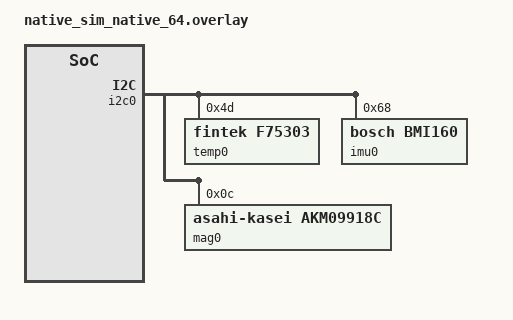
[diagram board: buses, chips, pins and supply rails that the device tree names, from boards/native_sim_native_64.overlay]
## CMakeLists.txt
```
cmake_minimum_required(VERSION 3.20.0)
find_package(Zephyr REQUIRED HINTS $ENV{ZEPHYR_BASE})
project(sensor_node)

target_sources(app PRIVATE
  src/main.c
  src/sensors.c
  src/frame.c
  src/alarm.c
  src/sim_stimulus.c
  src/cmd_shell.c)
target_include_directories(app PRIVATE src)
```

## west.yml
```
# Makes this repository a west "application repo" pinned to a specific Zephyr release.
manifest:
  remotes:
    - name: zephyrproject-rtos
      url-base: https://github.com/zephyrproject-rtos
  projects:
    - name: zephyr
      remote: zephyrproject-rtos
      revision: v4.2.0
      import:
        name-allowlist: []   # native_sim needs no HAL modules; add e.g. hal_nordic for real boards
  self:
    path: sensor-node
```

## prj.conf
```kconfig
# Core
CONFIG_MAIN_STACK_SIZE=2048
CONFIG_LOG=n
CONFIG_PRINTK=y

# Sensors on emulated I2C bus
CONFIG_I2C=y
CONFIG_SENSOR=y
CONFIG_EMUL=y
CONFIG_I2C_EMUL=y
CONFIG_F75303=y
CONFIG_BMI160=y
CONFIG_AKM09918C=y

# UART shell (command interface) + CRC helpers
CONFIG_SHELL=y
CONFIG_SHELL_BACKEND_SERIAL=y
CONFIG_SHELL_PROMPT_UART="node:~$ "
CONFIG_CRC=y

# Watchdog-style health supervision uses a k_work_delayable
CONFIG_SYSTEM_WORKQUEUE_STACK_SIZE=2048
```

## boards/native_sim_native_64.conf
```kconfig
# Shell + console on the host terminal (stdin/stdout) so scripts and humans can drive it
CONFIG_UART_NATIVE_PTY_0_ON_STDINOUT=y
```

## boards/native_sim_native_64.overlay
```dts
/*
 * Virtual sensor node: three real Zephyr sensor drivers talk over the emulated
 * I2C controller (i2c0) to emulated chips. Same driver code would run on hardware.
 */
&i2c0 {
	status = "okay";

	temp0: f75303@4d {
		compatible = "fintek,f75303";
		reg = <0x4d>;
	};

	imu0: bmi160@68 {
		compatible = "bosch,bmi160";
		reg = <0x68>;
	};

	mag0: akm09918c@c {
		compatible = "asahi-kasei,akm09918c";
		reg = <0x0c>;
	};
};
```

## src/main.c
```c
/*
 * Multi-sensor node: periodically reads a temperature sensor, an IMU and a
 * magnetometer over I2C, evaluates alarms, and streams CRC-protected frames on
 * the UART. A UART shell allows runtime control. Runs on native_sim today;
 * the same sources build for real boards by adding a board overlay.
 */
#include <zephyr/kernel.h>
#include <zephyr/sys/printk.h>

#include "alarm.h"
#include "frame.h"
#include "node.h"
#include "sensors.h"
#include "sim_stimulus.h"

struct node_state node;

int main(void)
{
	k_mutex_init(&node.lock);
	node.period_ms = 500;
	alarm_default_cfg(&node.cfg);

	if (sensors_init() != 0 || sim_init() != 0) {
		printk("# FATAL: sensor bring-up failed\n");
		return -1;
	}
	printk("# sensor-node up, period=%u ms\n", node.period_ms);

	uint32_t seq = 0;
	int64_t next = k_uptime_get();

	for (;;) {
		struct sample s = {0};
		char line[FRAME_MAX_LEN];

		s.seq = seq++;
		s.uptime_ms = (uint32_t)k_uptime_get();
		sim_step(s.uptime_ms);

		int rc = sensors_read(&s);

		k_mutex_lock(&node.lock, K_FOREVER);
		s.alarms = alarm_update(&node.alarm, &node.cfg, &s, rc != 0);
		node.last = s;
		node.frames++;
		if (rc != 0) {
			node.read_errors++;
		}
		uint32_t period = node.period_ms;

		k_mutex_unlock(&node.lock);

		if (frame_encode(&s, line, sizeof(line)) > 0) {
			printk("%s", line);
		}

		next += period;
		int64_t wait = next - k_uptime_get();

		if (wait < 0) { /* overrun: resync instead of bursting */
			next = k_uptime_get();
			wait = 0;
		}
		k_sleep(K_MSEC(wait));
	}
	return 0;
}
```

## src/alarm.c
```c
#include "alarm.h"

#include <stdlib.h>
#include <zephyr/sys/util.h>

void alarm_default_cfg(struct alarm_cfg *c)
{
	c->temp_hi_mc = 45000;
	c->temp_clear_mc = 42000;
	c->shock_mg = 1500;
	c->spin_mdps = 200000;
	c->debounce = 3;
}

static int32_t isqrt64(uint64_t v)
{
	uint64_t r = 0, bit = 1ULL << 62;

	while (bit > v) {
		bit >>= 2;
	}
	while (bit) {
		if (v >= r + bit) {
			v -= r + bit;
			r = (r >> 1) + bit;
		} else {
			r >>= 1;
		}
		bit >>= 2;
	}
	return (int32_t)r;
}

static int32_t mag3(const int32_t v[3])
{
	return isqrt64((uint64_t)((int64_t)v[0] * v[0] + (int64_t)v[1] * v[1] + (int64_t)v[2] * v[2]));
}

uint8_t alarm_update(struct alarm_state *st, const struct alarm_cfg *cfg,
		     const struct sample *s, int fault)
{
	/* over-temperature: hysteresis + debounce */
	if (st->active & ALARM_OVERTEMP) {
		if (s->temp_mc < cfg->temp_clear_mc) {
			st->active &= ~ALARM_OVERTEMP;
			st->cnt_temp = 0;
		}
	} else if (s->temp_mc > cfg->temp_hi_mc) {
		if (++st->cnt_temp >= cfg->debounce) {
			st->active |= ALARM_OVERTEMP;
		}
	} else {
		st->cnt_temp = 0;
	}

	/* shock: acceleration magnitude deviates from 1 g (1000 mg) */
	int32_t dev = abs(mag3(s->accel_mg) - 1000);

	if (dev > cfg->shock_mg) {
		if (++st->cnt_shock >= cfg->debounce) {
			st->active |= ALARM_SHOCK;
		}
	} else {
		st->cnt_shock = 0;
		st->active &= ~ALARM_SHOCK;
	}

	/* spin */
	if (mag3(s->gyro_mdps) > cfg->spin_mdps) {
		if (++st->cnt_spin >= cfg->debounce) {
			st->active |= ALARM_SPIN;
		}
	} else {
		st->cnt_spin = 0;
		st->active &= ~ALARM_SPIN;
	}

	if (fault) {
		st->active |= ALARM_SENSOR_FAULT;
	} else {
		st->active &= ~ALARM_SENSOR_FAULT;
	}
	return st->active;
}
```

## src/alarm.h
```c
/* Alarm evaluation with hysteresis and debounce. Pure logic: unit-testable off-target. */
#ifndef ALARM_H_
#define ALARM_H_

#include <stdint.h>
#include "frame.h"

#define ALARM_OVERTEMP  BIT(0)
#define ALARM_SHOCK     BIT(1)
#define ALARM_SPIN      BIT(2)
#define ALARM_SENSOR_FAULT BIT(7)

struct alarm_cfg {
	int32_t temp_hi_mc;     /* trip above */
	int32_t temp_clear_mc;  /* clear below (hysteresis) */
	int32_t shock_mg;       /* |a| deviation from 1 g that trips shock */
	int32_t spin_mdps;      /* |w| that trips spin */
	uint8_t debounce;       /* consecutive samples required to trip */
};

struct alarm_state {
	uint8_t active;
	uint8_t cnt_temp, cnt_shock, cnt_spin;
};

void alarm_default_cfg(struct alarm_cfg *c);
/* Updates state from a sample; returns active mask. `fault` forces SENSOR_FAULT. */
uint8_t alarm_update(struct alarm_state *st, const struct alarm_cfg *cfg,
		     const struct sample *s, int fault);

#endif
```

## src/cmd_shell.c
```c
#include <stdlib.h>
#include <zephyr/shell/shell.h>
#include "node.h"
#include "sim_stimulus.h"

static int cmd_status(const struct shell *sh, size_t argc, char **argv)
{
	k_mutex_lock(&node.lock, K_FOREVER);
	struct sample s = node.last;
	uint32_t p = node.period_ms, f = node.frames, e = node.read_errors;
	uint8_t a = node.alarm.active;

	k_mutex_unlock(&node.lock);
	shell_print(sh, "period=%ums frames=%u i2c_errors=%u alarms=0x%02x", p, f, e, a);
	shell_print(sh, "temp=%d.%03dC accel_mg=(%d,%d,%d) gyro_mdps=(%d,%d,%d)",
		    s.temp_mc / 1000, abs(s.temp_mc % 1000), s.accel_mg[0], s.accel_mg[1],
		    s.accel_mg[2], s.gyro_mdps[0], s.gyro_mdps[1], s.gyro_mdps[2]);
	return 0;
}

static int cmd_period(const struct shell *sh, size_t argc, char **argv)
{
	long ms = strtol(argv[1], NULL, 10);

	if (ms < 20 || ms > 10000) {
		shell_error(sh, "period must be 20..10000 ms");
		return -EINVAL;
	}
	k_mutex_lock(&node.lock, K_FOREVER);
	node.period_ms = (uint32_t)ms;
	k_mutex_unlock(&node.lock);
	shell_print(sh, "period=%ld ms", ms);
	return 0;
}

static int cmd_thresh_temp(const struct shell *sh, size_t argc, char **argv)
{
	long c = strtol(argv[1], NULL, 10);

	if (c < -40 || c > 125) {
		shell_error(sh, "threshold must be -40..125 C");
		return -EINVAL;
	}
	k_mutex_lock(&node.lock, K_FOREVER);
	node.cfg.temp_hi_mc = c * 1000;
	node.cfg.temp_clear_mc = (c - 3) * 1000;
	k_mutex_unlock(&node.lock);
	shell_print(sh, "over-temp trips above %ld C, clears below %ld C", c, c - 3);
	return 0;
}

static int cmd_heat(const struct shell *sh, size_t argc, char **argv)
{
	sim_set_heat_mc((int32_t)(strtol(argv[1], NULL, 10) * 1000));
	return 0;
}

static int cmd_shock(const struct shell *sh, size_t argc, char **argv)
{
	sim_trigger_shock(argc > 1 ? (uint32_t)strtoul(argv[1], NULL, 10) : 500);
	return 0;
}

static int cmd_spin(const struct shell *sh, size_t argc, char **argv)
{
	sim_trigger_spin(argc > 1 ? (uint32_t)strtoul(argv[1], NULL, 10) : 1000);
	return 0;
}

static int cmd_reset(const struct shell *sh, size_t argc, char **argv)
{
	sim_reset();
	return 0;
}

SHELL_STATIC_SUBCMD_SET_CREATE(node_cmds,
	SHELL_CMD_ARG(status, NULL, "Show last sample and counters", cmd_status, 1, 0),
	SHELL_CMD_ARG(period, NULL, "period <ms>  sampling period (20..10000)", cmd_period, 2, 0),
	SHELL_CMD_ARG(thresh_temp, NULL, "thresh_temp <C>  over-temp alarm threshold", cmd_thresh_temp, 2, 0),
	SHELL_SUBCMD_SET_END);
SHELL_CMD_REGISTER(node, &node_cmds, "Sensor node control", NULL);

SHELL_STATIC_SUBCMD_SET_CREATE(sim_cmds,
	SHELL_CMD_ARG(heat, NULL, "heat <dC>  add dC degrees to ambient", cmd_heat, 2, 0),
	SHELL_CMD_ARG(shock, NULL, "shock [ms]  inject an impact", cmd_shock, 1, 1),
	SHELL_CMD_ARG(spin, NULL, "spin [ms]  inject rotation", cmd_spin, 1, 1),
	SHELL_CMD_ARG(reset, NULL, "clear injected faults", cmd_reset, 1, 0),
	SHELL_SUBCMD_SET_END);
SHELL_CMD_REGISTER(sim, &sim_cmds, "Virtual-world fault injection", NULL);
```

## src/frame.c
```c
#include "frame.h"

#include <errno.h>
#include <stdio.h>
#include <stdlib.h>
#include <string.h>
#include <zephyr/sys/crc.h>

int frame_encode(const struct sample *s, char *buf, size_t len)
{
	char body[FRAME_MAX_LEN];
	int n = snprintf(body, sizeof(body),
			 "SN,%u,%u,%d,%d,%d,%d,%d,%d,%d,%d,%d,%d,%u",
			 (unsigned)s->seq, (unsigned)s->uptime_ms, (int)s->temp_mc,
			 (int)s->accel_mg[0], (int)s->accel_mg[1], (int)s->accel_mg[2],
			 (int)s->gyro_mdps[0], (int)s->gyro_mdps[1], (int)s->gyro_mdps[2],
			 (int)s->mag_nt[0], (int)s->mag_nt[1], (int)s->mag_nt[2],
			 (unsigned)s->alarms);

	if (n < 0 || (size_t)n >= sizeof(body)) {
		return -ENOMEM;
	}
	uint16_t crc = crc16_itu_t(0, (const uint8_t *)body, (size_t)n);
	int m = snprintf(buf, len, "$%s*%04X\n", body, crc);

	return (m < 0 || (size_t)m >= len) ? -ENOMEM : m;
}

int frame_decode(const char *line, struct sample *out)
{
	const char *star = strrchr(line, '*');

	if (line[0] != '$' || star == NULL) {
		return -EBADMSG;
	}
	size_t body_len = (size_t)(star - (line + 1));
	uint16_t want = (uint16_t)strtoul(star + 1, NULL, 16);

	if (crc16_itu_t(0, (const uint8_t *)(line + 1), body_len) != want) {
		return -EBADMSG;
	}
	unsigned seq, ms, al;
	int t, ax, ay, az, gx, gy, gz, mx, my, mz;

	if (sscanf(line + 1, "SN,%u,%u,%d,%d,%d,%d,%d,%d,%d,%d,%d,%d,%u",
		   &seq, &ms, &t, &ax, &ay, &az, &gx, &gy, &gz, &mx, &my, &mz, &al) != 13) {
		return -EBADMSG;
	}
	out->seq = seq;
	out->uptime_ms = ms;
	out->temp_mc = t;
	out->accel_mg[0] = ax; out->accel_mg[1] = ay; out->accel_mg[2] = az;
	out->gyro_mdps[0] = gx; out->gyro_mdps[1] = gy; out->gyro_mdps[2] = gz;
	out->mag_nt[0] = mx; out->mag_nt[1] = my; out->mag_nt[2] = mz;
	out->alarms = (uint8_t)al;
	return 0;
}
```

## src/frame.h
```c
/* Telemetry frame encoder/decoder. Pure C, no Zephyr kernel dependencies except crc16. */
#ifndef FRAME_H_
#define FRAME_H_

#include <stddef.h>
#include <stdint.h>

/* All values are fixed-point integers (no floats on the wire). */
struct sample {
	uint32_t seq;
	uint32_t uptime_ms;
	int32_t temp_mc;      /* milli-degrees C */
	int32_t accel_mg[3];  /* milli-g */
	int32_t gyro_mdps[3]; /* milli-degrees/s */
	int32_t mag_nt[3];    /* nano-tesla */
	uint8_t alarms;       /* bit mask, see alarm.h */
};

/* Frame format:  $SN,<seq>,<ms>,<tmC>,<ax>,<ay>,<az>,<gx>,<gy>,<gz>,<mx>,<my>,<mz>,<alarms>*<CRC16 hex4>\n
 * CRC-16/ITU-T (CCITT, poly 0x1021, init 0) over the bytes between '$' and '*'. */
#define FRAME_MAX_LEN 160

/* Returns length written (excluding NUL) or negative errno. */
int frame_encode(const struct sample *s, char *buf, size_t len);

/* Returns 0 on success, -EBADMSG on CRC/format error. */
int frame_decode(const char *line, struct sample *out);

#endif
```

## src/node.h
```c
#ifndef NODE_H_
#define NODE_H_

#include <zephyr/kernel.h>
#include "alarm.h"
#include "frame.h"

struct node_state {
	struct k_mutex lock;
	uint32_t period_ms;
	struct alarm_cfg cfg;
	struct alarm_state alarm;
	struct sample last;
	uint32_t frames, read_errors;
};

extern struct node_state node;

#endif
```

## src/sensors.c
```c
#include "sensors.h"

#include <errno.h>
#include <zephyr/device.h>
#include <zephyr/devicetree.h>
#include <zephyr/drivers/sensor.h>
#include <zephyr/sys/printk.h>

static const struct device *const temp_dev = DEVICE_DT_GET(DT_NODELABEL(temp0));
static const struct device *const imu_dev = DEVICE_DT_GET(DT_NODELABEL(imu0));
static const struct device *const mag_dev = DEVICE_DT_GET(DT_NODELABEL(mag0));

#define M_S2_PER_G_MILLI 9807 /* 1 g = 9.80665 m/s^2 -> value_in_m_s2 * 1000 / 9.807 = mg */

static int32_t sv_milli(const struct sensor_value *v)
{
	return (int32_t)(v->val1 * 1000 + v->val2 / 1000);
}

int sensors_init(void)
{
	const struct device *devs[] = {temp_dev, imu_dev, mag_dev};
	const char *names[] = {"F75303 temp", "BMI160 imu", "AKM09918C mag"};

	for (int i = 0; i < 3; i++) {
		if (!device_is_ready(devs[i])) {
			printk("# sensor not ready: %s\n", names[i]);
			return -ENODEV;
		}
	}
	/* +-8 g so impacts are not clipped by the power-on default of +-2 g */
	struct sensor_value fs;

	sensor_g_to_ms2(8, &fs);
	int rc = sensor_attr_set(imu_dev, SENSOR_CHAN_ACCEL_XYZ, SENSOR_ATTR_FULL_SCALE, &fs);

	if (rc != 0) {
		printk("# warn: could not set accel range (%d)\n", rc);
	}
	return 0;
}

int sensors_read(struct sample *s)
{
	struct sensor_value v[3];
	int err = 0, rc;

	rc = sensor_sample_fetch(temp_dev);
	if (rc == 0) {
		rc = sensor_channel_get(temp_dev, SENSOR_CHAN_AMBIENT_TEMP, &v[0]);
	}
	if (rc == 0) {
		s->temp_mc = sv_milli(&v[0]);
	} else {
		err = rc;
	}

	rc = sensor_sample_fetch(imu_dev);
	if (rc == 0) {
		rc = sensor_channel_get(imu_dev, SENSOR_CHAN_ACCEL_XYZ, v);
		if (rc == 0) {
			for (int i = 0; i < 3; i++) {
				/* m/s^2 (milli) -> milli-g */
				s->accel_mg[i] = (int32_t)((int64_t)sv_milli(&v[i]) * 1000 / M_S2_PER_G_MILLI);
			}
		}
		if (rc == 0) {
			rc = sensor_channel_get(imu_dev, SENSOR_CHAN_GYRO_XYZ, v);
		}
		if (rc == 0) {
			for (int i = 0; i < 3; i++) {
				/* rad/s (milli) -> milli-deg/s */
				s->gyro_mdps[i] = (int32_t)((int64_t)sv_milli(&v[i]) * 57296 / 1000);
			}
		}
	}
	if (rc != 0) {
		err = rc;
	}

	rc = sensor_sample_fetch(mag_dev);
	if (rc == 0) {
		rc = sensor_channel_get(mag_dev, SENSOR_CHAN_MAGN_XYZ, v);
	}
	if (rc == 0) {
		for (int i = 0; i < 3; i++) {
			/* gauss -> nano-tesla: 1 G = 100000 nT */
			s->mag_nt[i] = (int32_t)((int64_t)sv_milli(&v[i]) * 100);
		}
	} else {
		err = rc;
	}
	return err;
}
```

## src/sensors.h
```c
#ifndef SENSORS_H_
#define SENSORS_H_

#include "frame.h"

int sensors_init(void);
/* Reads all sensors over I2C. Returns 0 if every device answered, else negative errno
 * (sample fields of failed devices are left zero). */
int sensors_read(struct sample *s);

#endif
```

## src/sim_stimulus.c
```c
#include "sim_stimulus.h"
#include <zephyr/kernel.h>
#include <zephyr/sys/printk.h>

#ifdef CONFIG_EMUL

#include <math.h>
#include <zephyr/device.h>
#include <zephyr/drivers/emul.h>
#include <zephyr/drivers/emul_sensor.h>
#include <zephyr/drivers/sensor.h>
#include <zephyr/kernel.h>

#define SHIFT 8

static const struct emul *temp_emul = EMUL_DT_GET(DT_NODELABEL(temp0));
static const struct emul *imu_emul = EMUL_DT_GET(DT_NODELABEL(imu0));
static const struct emul *mag_emul = EMUL_DT_GET(DT_NODELABEL(mag0));

static int32_t heat_mc;
static uint32_t shock_until, spin_until;

static q31_t to_q31(double v)
{
	/* value = q31 / 2^31 * 2^SHIFT */
	return (q31_t)((v / (double)(1 << SHIFT)) * 2147483648.0);
}

static void set(const struct emul *e, enum sensor_channel c, double v)
{
	q31_t q = to_q31(v);

	emul_sensor_backend_set_channel(e, (struct sensor_chan_spec){c, 0}, &q, SHIFT);
}

int sim_init(void)
{
	heat_mc = 0;
	shock_until = spin_until = 0;
	return (temp_emul && imu_emul && mag_emul) ? 0 : -ENODEV;
}

void sim_reset(void)
{
	heat_mc = 0;
	shock_until = spin_until = 0;
}

void sim_set_heat_mc(int32_t extra_mc) { heat_mc = extra_mc; }
void sim_trigger_shock(uint32_t d) { shock_until = k_uptime_get_32() + d; }
void sim_trigger_spin(uint32_t d) { spin_until = k_uptime_get_32() + d; }

void sim_step(uint32_t t_ms)
{
	double t = t_ms / 1000.0;

	/* ambient: 28 C with slow +-1.5 C drift, plus injected heat */
	double temp_c = 28.0 + 1.5 * sin(t / 20.0) + heat_mc / 1000.0;

	set(temp_emul, SENSOR_CHAN_AMBIENT_TEMP, temp_c < 0 ? 0 : temp_c);

	/* IMU at rest on a table: ~1 g on Z, tiny deterministic vibration */
	double ax = 0.05 * sin(t * 7.0), ay = 0.05 * cos(t * 5.0), az = 9.80665 + 0.03 * sin(t * 3.0);

	if (t_ms < shock_until) {
		ax += 28.0; /* ~2.9 g impact */
	}
	set(imu_emul, SENSOR_CHAN_ACCEL_X, ax);
	set(imu_emul, SENSOR_CHAN_ACCEL_Y, ay);
	set(imu_emul, SENSOR_CHAN_ACCEL_Z, az);

	double w = (t_ms < spin_until) ? 5.0 : 0.002; /* rad/s: 5 rad/s ~ 286 dps */

	set(imu_emul, SENSOR_CHAN_GYRO_X, 0.0);
	set(imu_emul, SENSOR_CHAN_GYRO_Y, 0.0);
	set(imu_emul, SENSOR_CHAN_GYRO_Z, w);

	/* Earth-like field, ~0.45 gauss, rotating slowly with heading */
	set(mag_emul, SENSOR_CHAN_MAGN_X, 0.30 * cos(t / 15.0));
	set(mag_emul, SENSOR_CHAN_MAGN_Y, 0.30 * sin(t / 15.0));
	set(mag_emul, SENSOR_CHAN_MAGN_Z, -0.35);
}

#else /* real hardware: nothing to simulate */

int sim_init(void) { return 0; }
void sim_step(uint32_t t_ms) { ARG_UNUSED(t_ms); }
void sim_set_heat_mc(int32_t e) { ARG_UNUSED(e); }
void sim_trigger_shock(uint32_t d) { ARG_UNUSED(d); }
void sim_trigger_spin(uint32_t d) { ARG_UNUSED(d); }
void sim_reset(void) {}

#endif
```

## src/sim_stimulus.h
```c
/* Virtual world: drives the emulated sensor chips so the firmware sees plausible physics.
 * Compiled for every build, but only has an effect where emulators exist (native_sim). */
#ifndef SIM_STIMULUS_H_
#define SIM_STIMULUS_H_

#include <stdint.h>

int sim_init(void);
void sim_step(uint32_t uptime_ms);
void sim_set_heat_mc(int32_t extra_mc);   /* adds to ambient temperature */
void sim_trigger_shock(uint32_t duration_ms);
void sim_trigger_spin(uint32_t duration_ms);
void sim_reset(void);

#endif
```
